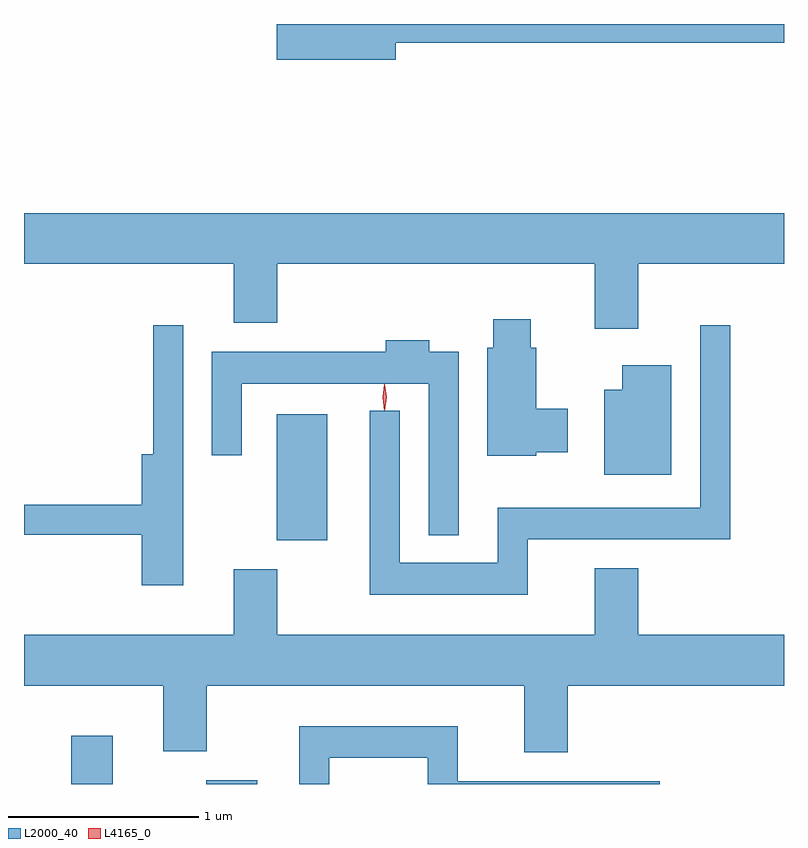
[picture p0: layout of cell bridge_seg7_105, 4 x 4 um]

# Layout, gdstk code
import gdstk
lib = gdstk.Library(unit=1e-6, precision=1e-09)
def R(c, l, rs):  # rectangles x0, y0, x1, y1
    for r in rs: c.add(gdstk.rectangle(r[:2], r[2:], *l))
def P(c, l, *ps):  # polygons
    for p in ps: c.add(gdstk.Polygon(p, *l))
L2000_40 = (2000, 40)
L4165_0 = (4165, 0)

bridge_seg7_105 = lib.new_cell('bridge_seg7_105')
R(bridge_seg7_105, L2000_40, [(1629.066,1780.399,1629.284,1780.654), (1629.776,1780.399,1630.044,1780.419), (1630.146,1781.681,1630.414,1782.344)])
P(bridge_seg7_105, L2000_40, [(1630.774,1784.301),(1632.817,1784.301),(1632.817,1784.399),(1630.146,1784.399),(1630.146,1784.211),(1630.774,1784.211)],
  [(1632.049,1783.136),(1632.817,1783.136),(1632.817,1783.404),(1628.817,1783.404),(1628.817,1783.136),(1629.921,1783.136),(1629.921,1782.826),(1630.149,1782.826),(1630.149,1783.136),(1631.821,1783.136),(1631.821,1782.796),(1632.049,1782.796)],
  [(1631.514,1782.146),(1631.679,1782.146),(1631.679,1782.374),(1631.514,1782.374),(1631.514,1782.694),(1631.484,1782.694),(1631.484,1782.844),(1631.286,1782.844),(1631.286,1782.694),(1631.256,1782.694),(1631.256,1782.126),(1631.514,1782.126)],
  [(1629.654,1782.813),(1629.496,1782.813),(1629.496,1782.134),(1629.436,1782.134),(1629.436,1781.869),(1628.817,1781.869),(1628.817,1781.711),(1629.436,1781.711),(1629.436,1781.446),(1629.654,1781.446)],
  [(1631.469,1781.686),(1632.534,1781.686),(1632.534,1782.813),(1632.376,1782.813),(1632.376,1781.854),(1631.311,1781.854),(1631.311,1781.564),(1630.794,1781.564),(1630.794,1782.363),(1630.636,1782.363),(1630.636,1781.396),(1631.469,1781.396)],
  [(1631.104,1782.674),(1630.949,1782.674),(1630.949,1782.734),(1630.721,1782.734),(1630.721,1782.674),(1629.806,1782.674),(1629.806,1782.128),(1629.964,1782.128),(1629.964,1782.506),(1630.946,1782.506),(1630.946,1781.708),(1631.104,1781.708)],
  [(1632.224,1782.604),(1631.966,1782.604),(1631.966,1782.474),(1631.871,1782.474),(1631.871,1782.026),(1632.224,1782.026)],
  [(1631.679,1780.916),(1632.817,1780.916),(1632.817,1781.184),(1632.049,1781.184),(1632.049,1781.534),(1631.821,1781.534),(1631.821,1781.184),(1630.149,1781.184),(1630.149,1781.529),(1629.921,1781.529),(1629.921,1781.184),(1628.817,1781.184),(1628.817,1780.916),(1629.551,1780.916),(1629.551,1780.571),(1629.779,1780.571),(1629.779,1780.916),(1631.451,1780.916),(1631.451,1780.566),(1631.679,1780.566)],
  [(1630.424,1780.536),(1630.941,1780.536),(1630.941,1780.399),(1632.164,1780.399),(1632.164,1780.414),(1631.099,1780.414),(1631.099,1780.704),(1630.266,1780.704),(1630.266,1780.399),(1630.424,1780.399)])
P(bridge_seg7_105, L4165_0, [(1630.713,1782.367),(1630.704,1782.434),(1630.713,1782.5),(1630.714,1782.5),(1630.714,1782.5),(1630.724,1782.434),(1630.714,1782.367),(1630.714,1782.367)],
  [(1630.714,1782.364),(1630.705,1782.434),(1630.714,1782.502),(1630.715,1782.503),(1630.715,1782.502),(1630.725,1782.434),(1630.715,1782.364),(1630.715,1782.364)])

lib.write_gds('bridge_seg7_105.gds')
